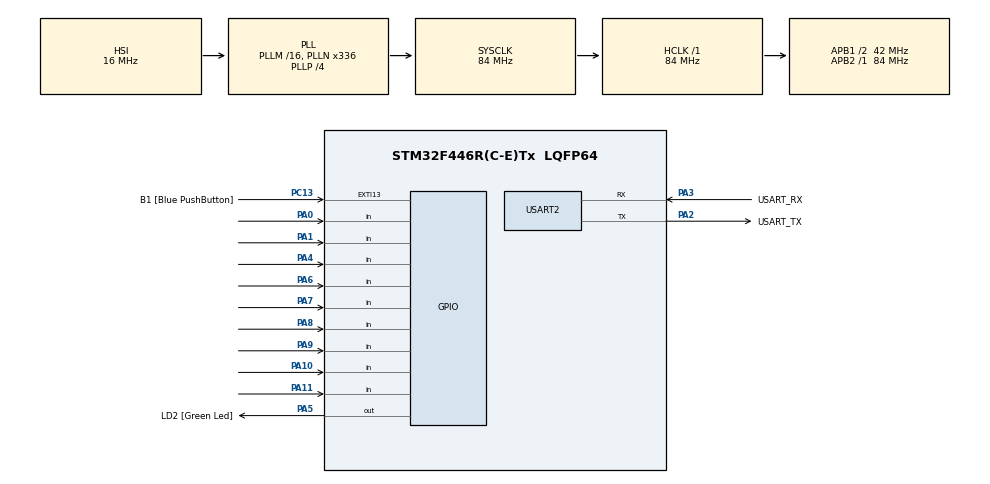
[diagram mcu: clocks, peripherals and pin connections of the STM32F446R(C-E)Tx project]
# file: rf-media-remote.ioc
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Mcu.Family=STM32F4
Mcu.Name=STM32F446R(C-E)Tx
Mcu.Package=LQFP64
NUCLEO-F446RE.Bsp_Common_DEMO=false
NVIC.PriorityGroup=NVIC_PRIORITYGROUP_0
PA0-WKUP.GPIO_PuPd=GPIO_PULLUP
PA0-WKUP.Signal=GPIO_Input
PA1.GPIO_PuPd=GPIO_PULLUP
PA1.Signal=GPIO_Input
PA10.GPIO_PuPd=GPIO_PULLUP
PA10.Signal=GPIO_Input
PA11.GPIO_PuPd=GPIO_PULLUP
PA11.Signal=GPIO_Input
PA13.GPIO_Label=TMS
PA13.Signal=SYS_JTMS-SWDIO
PA14.GPIO_Label=TCK
PA14.Signal=SYS_JTCK-SWCLK
PA2.GPIO_Label=USART_TX
PA2.Mode=Asynchronous
PA2.Signal=USART2_TX
PA3.GPIO_Label=USART_RX
PA3.Mode=Asynchronous
PA3.Signal=USART2_RX
PA4.GPIO_PuPd=GPIO_PULLUP
PA4.Signal=GPIO_Input
PA5.GPIO_Label=LD2 [Green Led]
PA5.Signal=GPIO_Output
PA6.GPIO_PuPd=GPIO_PULLUP
PA6.Signal=GPIO_Input
PA7.GPIO_PuPd=GPIO_PULLUP
PA7.Signal=GPIO_Input
PA8.GPIO_PuPd=GPIO_PULLUP
PA8.Signal=GPIO_Input
PA9.GPIO_PuPd=GPIO_PULLUP
PA9.Signal=GPIO_Input
PB3.GPIO_Label=SWO
PB3.Signal=SYS_JTDO-SWO
PC13.GPIO_Label=B1 [Blue PushButton]
PC13.GPIO_ModeDefaultEXTI=GPIO_MODE_IT_FALLING
PC13.Signal=GPXTI13
PC14-OSC32_IN.Signal=RCC_OSC32_IN
PC15-OSC32_OUT.Signal=RCC_OSC32_OUT
PH0-OSC_IN.Signal=RCC_OSC_IN
PH1-OSC_OUT.Signal=RCC_OSC_OUT
ProjectManager.HeapSize=0x200
ProjectManager.StackSize=0x400
ProjectManager.TargetToolchain=STM32CubeIDE
RCC.AHBFreq_Value=84000000
RCC.APB1CLKDivider=RCC_HCLK_DIV2
RCC.APB1Freq_Value=42000000
RCC.APB1TimFreq_Value=84000000
RCC.APB2Freq_Value=84000000
RCC.APB2TimFreq_Value=84000000
RCC.CortexFreq_Value=84000000
RCC.FLatency-AdvancedSettings=FLASH_LATENCY_2
RCC.HCLKFreq_Value=84000000
RCC.HSE_VALUE=8000000
RCC.HSI_VALUE=16000000
RCC.LSE_VALUE=32768
RCC.PLLN=336
RCC.PLLP=RCC_PLLP_DIV4
RCC.SYSCLKFreq_VALUE=84000000
RCC.SYSCLKSource=RCC_SYSCLKSOURCE_PLLCLK
RCC.USBFreq_Value=168000000
RCC.VCOOutputFreq_Value=336000000
USART2.VirtualMode=VM_ASYNC
board=NUCLEO-F446RE

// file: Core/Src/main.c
/* USER CODE BEGIN Header */
/**
  ******************************************************************************
  * @file           : main.c
  * @brief          : Main program body
  ******************************************************************************
  * @attention
  *
  * Copyright (c) 2026 STMicroelectronics.
  * All rights reserved.
  *
  * This software is licensed under terms that can be found in the LICENSE file
  * in the root directory of this software component.
  * If no LICENSE file comes with this software, it is provided AS-IS.
  *
  ******************************************************************************
  */
/* USER CODE END Header */
#include "main.h"
#include <string.h>

UART_HandleTypeDef huart2;

void SystemClock_Config(void);
static void MX_GPIO_Init(void);
static void MX_USART2_UART_Init(void);

int main(void)
{

  /* MCU Configuration--------------------------------------------------------*/

  /* Reset of all peripherals, Initializes the Flash interface and the Systick. */
  HAL_Init();

  /* Configure the system clock */
  SystemClock_Config();

  /* Initialize all configured peripherals */
  MX_GPIO_Init();
  MX_USART2_UART_Init();

  /* Infinite loop */
  /* USER CODE BEGIN WHILE */
  typedef struct {
      GPIO_TypeDef* port;
      uint16_t pin;
      const char* cmd;
      uint8_t is_repeatable;      // 1 = powtarzaj przy trzymaniu (np. volume), 0 = pojedynczy klik
      uint8_t last_state;         // Poprzedni stabilny stan
      uint32_t last_debounce_time;// Czas ostatniej zmiany (do debouncingu)
      uint32_t last_repeat_time;  // Czas ostatniego wysłania przy przytrzymaniu
  } Button_t;

  // Ostatnie 3 zera w każdym wierszu to początkowe wartości liczników
  Button_t buttons[] = {
      {GPIOA, GPIO_PIN_0,  "BTN_1\n", 0, GPIO_PIN_SET, 0, 0}, // next
      {GPIOA, GPIO_PIN_1,  "BTN_2\n", 0, GPIO_PIN_SET, 0, 0}, // pause
      {GPIOA, GPIO_PIN_4,  "BTN_3\n", 0, GPIO_PIN_SET, 0, 0}, // prev
      {GPIOA, GPIO_PIN_6,  "BTN_4\n", 0, GPIO_PIN_SET, 0, 0}, // shuffle
      {GPIOA, GPIO_PIN_7,  "BTN_5\n", 0, GPIO_PIN_SET, 0, 0}, // sleep/wake
      {GPIOA, GPIO_PIN_8,  "BTN_6\n", 0, GPIO_PIN_SET, 0, 0}, // loop
      {GPIOA, GPIO_PIN_9,  "BTN_7\n", 1, GPIO_PIN_SET, 0, 0}, // vol 0.01 (powtarzalny!)
      {GPIOA, GPIO_PIN_10, "BTN_8\n", 1, GPIO_PIN_SET, 0, 0}, // vol 0.05 (powtarzalny!)
      {GPIOA, GPIO_PIN_11, "BTN_9\n", 1, GPIO_PIN_SET, 0, 0}  // vol 0.15 (powtarzalny!)
  };

  const uint32_t DEBOUNCE_MS = 30;
  const uint32_t REPEAT_MS = 150; // Co ile ms wysyłać komendę przy przytrzymaniu

  while (1)
  {
    uint32_t now = HAL_GetTick();

    for (int i = 0; i < 9; i++)
    {
      uint8_t current_reading = HAL_GPIO_ReadPin(buttons[i].port, buttons[i].pin);

      // 1. Wykryto zmianę (lub drganie styku) -> resetuj zegar debouncingu
      if (current_reading != buttons[i].last_state)
      {
        if ((now - buttons[i].last_debounce_time) > DEBOUNCE_MS)
        {
          buttons[i].last_state = current_reading;

          // Zbocze opadające (przycisk właśnie został wciśnięty)
          if (current_reading == GPIO_PIN_RESET)
          {
            HAL_GPIO_WritePin(GPIOA, GPIO_PIN_5, GPIO_PIN_SET);
            HAL_UART_Transmit(&huart2, (uint8_t*)buttons[i].cmd, strlen(buttons[i].cmd), 10);
            buttons[i].last_repeat_time = now;
          }
          else
          {
            HAL_GPIO_WritePin(GPIOA, GPIO_PIN_5, GPIO_PIN_RESET);
          }
        }
      }
      else
      {
        buttons[i].last_debounce_time = now;

        // 2. Obsługa przytrzymania (jeśli przycisk jest wciśnięty i ma flagę is_repeatable = 1)
        if (buttons[i].is_repeatable && current_reading == GPIO_PIN_RESET)
        {
          if ((now - buttons[i].last_repeat_time) > REPEAT_MS)
          {
            HAL_UART_Transmit(&huart2, (uint8_t*)buttons[i].cmd, strlen(buttons[i].cmd), 10);
            buttons[i].last_repeat_time = now;
          }
        }
      }
    }
    /* USER CODE END WHILE */

  }
}
void SystemClock_Config(void)
{
  RCC_OscInitTypeDef RCC_OscInitStruct = {0};
  RCC_ClkInitTypeDef RCC_ClkInitStruct = {0};

  /** Configure the main internal regulator output voltage
  */
  __HAL_RCC_PWR_CLK_ENABLE();
  __HAL_PWR_VOLTAGESCALING_CONFIG(PWR_REGULATOR_VOLTAGE_SCALE3);

  /** Initializes the RCC Oscillators according to the specified parameters
  * in the RCC_OscInitTypeDef structure.
  */
  RCC_OscInitStruct.OscillatorType = RCC_OSCILLATORTYPE_HSI;
  RCC_OscInitStruct.HSIState = RCC_HSI_ON;
  RCC_OscInitStruct.HSICalibrationValue = RCC_HSICALIBRATION_DEFAULT;
  RCC_OscInitStruct.PLL.PLLState = RCC_PLL_ON;
  RCC_OscInitStruct.PLL.PLLSource = RCC_PLLSOURCE_HSI;
  RCC_OscInitStruct.PLL.PLLM = 16;
  RCC_OscInitStruct.PLL.PLLN = 336;
  RCC_OscInitStruct.PLL.PLLP = RCC_PLLP_DIV4;
  RCC_OscInitStruct.PLL.PLLQ = 2;
  RCC_OscInitStruct.PLL.PLLR = 2;
  if (HAL_RCC_OscConfig(&RCC_OscInitStruct) != HAL_OK)
  {
    Error_Handler();
  }

  /** Initializes the CPU, AHB and APB buses clocks
  */
  RCC_ClkInitStruct.ClockType = RCC_CLOCKTYPE_HCLK|RCC_CLOCKTYPE_SYSCLK
                              |RCC_CLOCKTYPE_PCLK1|RCC_CLOCKTYPE_PCLK2;
  RCC_ClkInitStruct.SYSCLKSource = RCC_SYSCLKSOURCE_PLLCLK;
  RCC_ClkInitStruct.AHBCLKDivider = RCC_SYSCLK_DIV1;
  RCC_ClkInitStruct.APB1CLKDivider = RCC_HCLK_DIV2;
  RCC_ClkInitStruct.APB2CLKDivider = RCC_HCLK_DIV1;

  if (HAL_RCC_ClockConfig(&RCC_ClkInitStruct, FLASH_LATENCY_2) != HAL_OK)
  {
    Error_Handler();
  }
}

static void MX_USART2_UART_Init(void)
{

  huart2.Instance = USART2;
  huart2.Init.BaudRate = 115200;
  huart2.Init.WordLength = UART_WORDLENGTH_8B;
  huart2.Init.StopBits = UART_STOPBITS_1;
  huart2.Init.Parity = UART_PARITY_NONE;
  huart2.Init.Mode = UART_MODE_TX_RX;
  huart2.Init.HwFlowCtl = UART_HWCONTROL_NONE;
  huart2.Init.OverSampling = UART_OVERSAMPLING_16;
  if (HAL_UART_Init(&huart2) != HAL_OK)
  {
    Error_Handler();
  }

}

static void MX_GPIO_Init(void)
{
  GPIO_InitTypeDef GPIO_InitStruct = {0};

  /* GPIO Ports Clock Enable */
  __HAL_RCC_GPIOC_CLK_ENABLE();
  __HAL_RCC_GPIOH_CLK_ENABLE();
  __HAL_RCC_GPIOA_CLK_ENABLE();
  __HAL_RCC_GPIOB_CLK_ENABLE();

  /*Configure GPIO pin Output Level */
  HAL_GPIO_WritePin(LD2_GPIO_Port, LD2_Pin, GPIO_PIN_RESET);

  /*Configure GPIO pin : B1_Pin */
  GPIO_InitStruct.Pin = B1_Pin;
  GPIO_InitStruct.Mode = GPIO_MODE_IT_FALLING;
  GPIO_InitStruct.Pull = GPIO_NOPULL;
  HAL_GPIO_Init(B1_GPIO_Port, &GPIO_InitStruct);

  /*Configure GPIO pins : PA0 PA1 PA4 PA6
                           PA7 PA8 PA9 PA10
                           PA11 */
  GPIO_InitStruct.Pin = GPIO_PIN_0|GPIO_PIN_1|GPIO_PIN_4|GPIO_PIN_6
                          |GPIO_PIN_7|GPIO_PIN_8|GPIO_PIN_9|GPIO_PIN_10
                          |GPIO_PIN_11;
  GPIO_InitStruct.Mode = GPIO_MODE_INPUT;
  GPIO_InitStruct.Pull = GPIO_PULLUP;
  HAL_GPIO_Init(GPIOA, &GPIO_InitStruct);

  /*Configure GPIO pin : LD2_Pin */
  GPIO_InitStruct.Pin = LD2_Pin;
  GPIO_InitStruct.Mode = GPIO_MODE_OUTPUT_PP;
  GPIO_InitStruct.Pull = GPIO_NOPULL;
  GPIO_InitStruct.Speed = GPIO_SPEED_FREQ_LOW;
  HAL_GPIO_Init(LD2_GPIO_Port, &GPIO_InitStruct);

}

void Error_Handler(void)
{
  __disable_irq();
  while (1)
  {
  }
}
